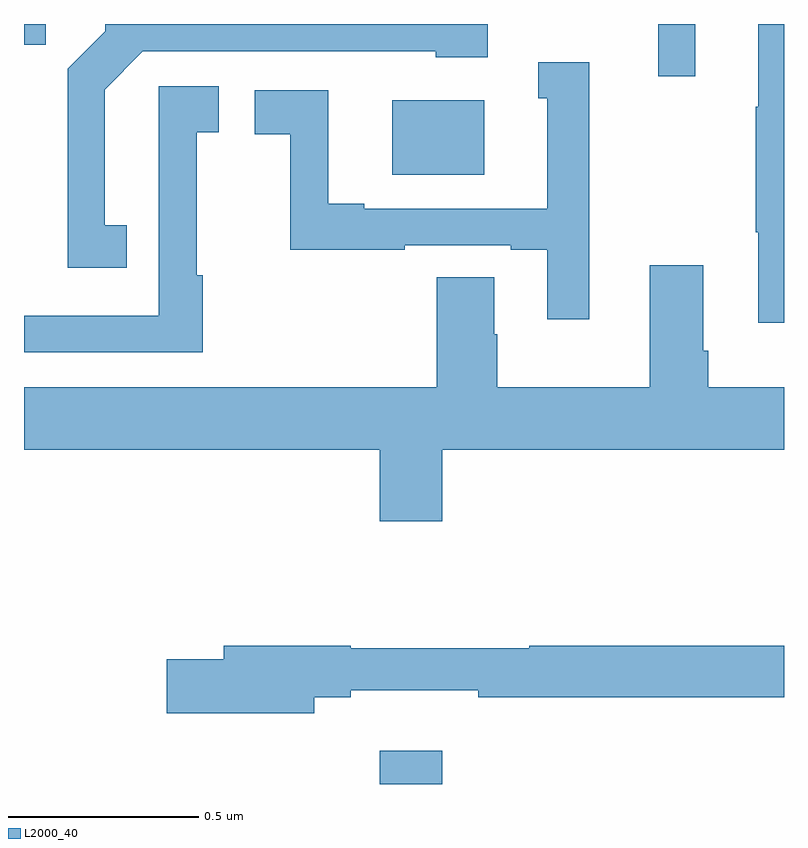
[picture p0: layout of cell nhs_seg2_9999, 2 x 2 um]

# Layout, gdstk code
import gdstk
lib = gdstk.Library(unit=1e-6, precision=1e-09)
def R(c, l, rs):  # rectangles x0, y0, x1, y1
    for r in rs: c.add(gdstk.rectangle(r[:2], r[2:], *l))
def P(c, l, *ps):  # polygons
    for p in ps: c.add(gdstk.Polygon(p, *l))
L2000_40 = (2000, 40)

nhs_seg2_9999 = lib.new_cell('nhs_seg2_9999')
R(nhs_seg2_9999, L2000_40, [(236.936,602.8,237.1,602.887), (236.969,604.403,237.211,604.6), (237.669,604.662,237.766,604.8), (236,604.745,236.057,604.8)])
P(nhs_seg2_9999, L2000_40, [(238,604.8),(237.932,604.8),(237.932,604.582),(237.925,604.582),(237.925,604.252),(237.932,604.252),(237.932,604.014),(238,604.014)],
  [(236.27,604.271),(236.212,604.271),(236.212,604.627),(236.313,604.728),(237.084,604.728),(237.084,604.712),(237.22,604.712),(237.22,604.8),(236.214,604.8),(236.214,604.781),(236.115,604.682),(236.115,604.158),(236.27,604.158)],
  [(237.487,604.699),(237.353,604.699),(237.353,604.605),(237.377,604.605),(237.377,604.314),(236.896,604.314),(236.896,604.327),(236.8,604.327),(236.8,604.626),(236.607,604.626),(236.607,604.51),(236.701,604.51),(236.701,604.206),(237.002,604.206),(237.002,604.218),(237.281,604.218),(237.281,604.206),(237.377,604.206),(237.377,604.023),(237.487,604.023)],
  [(236.471,604.139),(236.454,604.139),(236.454,604.515),(236.512,604.515),(236.512,604.636),(236.354,604.636),(236.354,604.36),(236.355,604.36),(236.355,604.032),(236,604.032),(236,603.936),(236.471,603.936)],
  [(237.1,603.68),(238,603.68),(238,603.844),(237.8,603.844),(237.8,603.94),(237.787,603.94),(237.787,604.165),(237.647,604.165),(237.647,603.844),(237.246,603.844),(237.246,603.983),(237.238,603.983),(237.238,604.133),(237.086,604.133),(237.086,603.844),(236,603.844),(236,603.68),(236.936,603.68),(236.936,603.492),(237.1,603.492)],
  [(236.764,603.028),(236.86,603.028),(236.86,603.047),(237.196,603.047),(237.196,603.028),(238,603.028),(238,603.164),(237.329,603.164),(237.329,603.157),(236.86,603.157),(236.86,603.164),(236.525,603.164),(236.525,603.128),(236.376,603.128),(236.376,602.986),(236.764,602.986)])

lib.write_gds('nhs_seg2_9999.gds')
